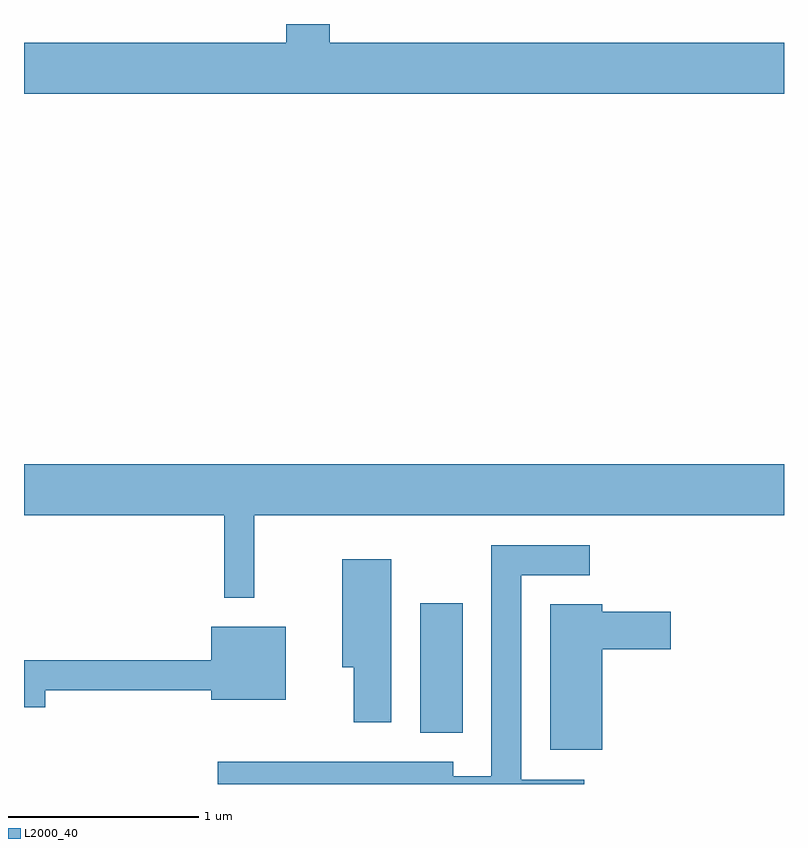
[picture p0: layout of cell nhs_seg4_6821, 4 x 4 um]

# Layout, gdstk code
import gdstk
lib = gdstk.Library(unit=1e-6, precision=1e-09)
def R(c, l, rs):  # rectangles x0, y0, x1, y1
    for r in rs: c.add(gdstk.rectangle(r[:2], r[2:], *l))
def P(c, l, *ps):  # polygons
    for p in ps: c.add(gdstk.Polygon(p, *l))
L2000_40 = (2000, 40)

nhs_seg4_6821 = lib.new_cell('nhs_seg4_6821')
R(nhs_seg4_6821, L2000_40, [(387.696,1300.251,387.919,1300.934)])
P(nhs_seg4_6821, L2000_40, [(389.611,1303.884),(387.219,1303.884),(387.219,1303.982),(386.991,1303.982),(386.991,1303.884),(385.611,1303.884),(385.611,1303.616),(389.611,1303.616)],
  [(386.824,1301.396),(389.611,1301.396),(389.611,1301.664),(385.611,1301.664),(385.611,1301.396),(386.666,1301.396),(386.666,1300.963),(386.824,1300.963)],
  [(388.559,1300.004),(388.229,1300.004),(388.229,1301.081),(388.588,1301.081),(388.588,1301.239),(388.071,1301.239),(388.071,1300.024),(387.869,1300.024),(387.869,1300.099),(386.631,1300.099),(386.631,1299.982),(388.559,1299.982)],
  [(387.544,1301.164),(387.286,1301.164),(387.286,1300.596),(387.346,1300.596),(387.346,1300.306),(387.544,1300.306)],
  [(388.654,1300.691),(389.014,1300.691),(389.014,1300.889),(388.654,1300.889),(388.654,1300.929),(388.381,1300.929),(388.381,1300.161),(388.654,1300.161)],
  [(385.724,1300.476),(386.596,1300.476),(386.596,1300.426),(386.989,1300.426),(386.989,1300.809),(386.596,1300.809),(386.596,1300.634),(385.611,1300.634),(385.611,1300.386),(385.724,1300.386)])

lib.write_gds('nhs_seg4_6821.gds')
